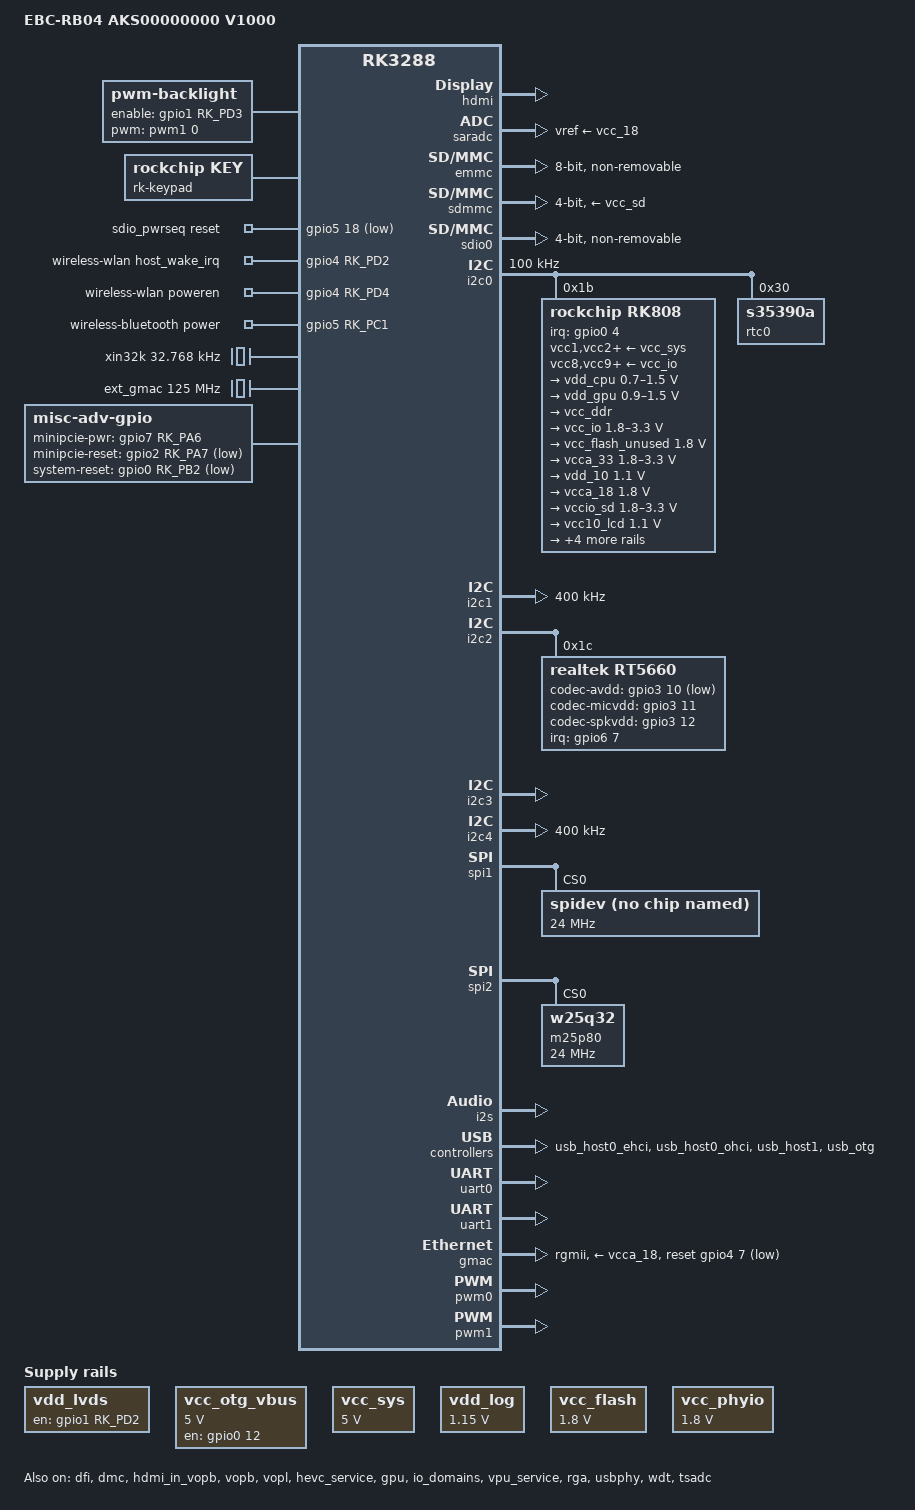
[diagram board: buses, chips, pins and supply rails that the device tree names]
/*
 * This file is dual-licensed: you can use it either under the terms
 * of the GPL or the X11 license, at your option. Note that this dual
 * licensing only applies to this file, and not this project as a
 * whole.
 *
 *  a) This file is free software; you can redistribute it and/or
 *     modify it under the terms of the GNU General Public License as
 *     published by the Free Software Foundation; either version 2 of the
 *     License, or (at your option) any later version.
 *
 *     This file is distributed in the hope that it will be useful,
 *     but WITHOUT ANY WARRANTY; without even the implied warranty of
 *     MERCHANTABILITY or FITNESS FOR A PARTICULAR PURPOSE.  See the
 *     GNU General Public License for more details.
 *
 * Or, alternatively,
 *
 *  b) Permission is hereby granted, free of charge, to any person
 *     obtaining a copy of this software and associated documentation
 *     files (the "Software"), to deal in the Software without
 *     restriction, including without limitation the rights to use,
 *     copy, modify, merge, publish, distribute, sublicense, and/or
 *     sell copies of the Software, and to permit persons to whom the
 *     Software is furnished to do so, subject to the following
 *     conditions:
 *
 *     The above copyright notice and this permission notice shall be
 *     included in all copies or substantial portions of the Software.
 *
 *     THE SOFTWARE IS PROVIDED "AS IS", WITHOUT WARRANTY OF ANY KIND,
 *     EXPRESS OR IMPLIED, INCLUDING BUT NOT LIMITED TO THE WARRANTIES
 *     OF MERCHANTABILITY, FITNESS FOR A PARTICULAR PURPOSE AND
 *     NONINFRINGEMENT. IN NO EVENT SHALL THE AUTHORS OR COPYRIGHT
 *     HOLDERS BE LIABLE FOR ANY CLAIM, DAMAGES OR OTHER LIABILITY,
 *     WHETHER IN AN ACTION OF CONTRACT, TORT OR OTHERWISE, ARISING
 *     FROM, OUT OF OR IN CONNECTION WITH THE SOFTWARE OR THE USE OR
 *     OTHER DEALINGS IN THE SOFTWARE.
 */

/dts-v1/;

#include <dt-bindings/pwm/pwm.h>
#include <dt-bindings/input/input.h>
#include <dt-bindings/display/rk_fb.h>
#include <dt-bindings/display/media-bus-format.h>

#include "rk3288.dtsi"
#include "rk3288-linux.dtsi"

// lvds panel
#include <dt-bindings/display/screen-timing/lcd-ph102600t013.dtsi>

/ {
	compatible = "rockchip,rk3288-ebcrb04-a1", "rockchip,rk3288";
	model = "EBC-RB04 AKS00000000 V1000";

	aliases {
		hdmi = &hdmi;
		lvds = &lvds;
		lvds_in_vopl = &lvds_in_vopl;
		lvds_in_vopb = &lvds_in_vopb;
	};

	chosen {
		bootargs = "earlyprintk console=ttyFIQ0 rw root=PARTUUID=614e0000-0000 rootfstype=ext4 rootwait";
	};

	cpuinfo {
		compatible = "rockchip,cpuinfo";
		nvmem-cells = <&efuse_id>;
		nvmem-cell-names = "id";
	};

	fiq-debugger {
		status = "okay";
	};
	
	backlight: backlight {
		compatible = "pwm-backlight";
		brightness-levels = <
			  0   1   2   3   4   5   6   7
			  8   9  10  11  12  13  14  15
			 16  17  18  19  20  21  22  23
			 24  25  26  27  28  29  30  31
			 32  33  34  35  36  37  38  39
			 40  41  42  43  44  45  46  47
			 48  49  50  51  52  53  54  55
			 56  57  58  59  60  61  62  63
			 64  65  66  67  68  69  70  71
			 72  73  74  75  76  77  78  79
			 80  81  82  83  84  85  86  87
			 88  89  90  91  92  93  94  95
			 96  97  98  99 100 101 102 103
			104 105 106 107 108 109 110 111
			112 113 114 115 116 117 118 119
			120 121 122 123 124 125 126 127
			128 129 130 131 132 133 134 135
			136 137 138 139 140 141 142 143
			144 145 146 147 148 149 150 151
			152 153 154 155 156 157 158 159
			160 161 162 163 164 165 166 167
			168 169 170 171 172 173 174 175
			176 177 178 179 180 181 182 183
			184 185 186 187 188 189 190 191
			192 193 194 195 196 197 198 199
			200 201 202 203 204 205 206 207
			208 209 210 211 212 213 214 215
			216 217 218 219 220 221 222 223
			224 225 226 227 228 229 230 231
			232 233 234 235 236 237 238 239
			240 241 242 243 244 245 246 247
			248 249 250 251 252 253 254 255>;
		default-brightness-level = <200>;
		enable-gpios = <&gpio1 RK_PD3 GPIO_ACTIVE_HIGH>;
		pinctrl-names = "default";
		pinctrl-0 = <&bl_en>;
		rockchip,pwm_id= <1>;
		pwms = <&pwm1 0 25000 0>; 
	};

	rk-keypad {
		compatible = "rockchip,key";
		status = "okay";

		power-key {
			gpios = <&gpio0 RK_PA5 GPIO_ACTIVE_LOW>;
			linux,code = <116>;
			pinctrl-names = "default";
			pinctrl-0 = <&pmic_pwr>;
			label = "power";
			gpio-key,wakeup;
		};
	};

	sdio_pwrseq: sdio-pwrseq {
		compatible = "mmc-pwrseq-simple";
		clocks = <&rk808 1>;
		clock-names = "ext_clock";
		pinctrl-names = "default";
		pinctrl-0 = <&wifi_enable_h>;

		/*
		 * On the module itself this is one of these (depending
		 * on the actual card populated):
		 * - SDIO_RESET_L_WL_REG_ON
		 * - PDN (power down when low)
		 */
		reset-gpios = <&gpio5 18 GPIO_ACTIVE_LOW>;
	};

    wireless-wlan {
		compatible = "wlan-platdata";
		rockchip,grf = <&grf>;
		wifi_chip_type = "ap6212";
		sdio_vref = <1800>;
		keep_wifi_power_on = <1>;
		pinctrl-names = "default";
		pinctrl-0 = <&wifi_pwr_h>;
		//pinctrl-1 = <&wifi_enable_h>;
		WIFI,host_wake_irq = <&gpio4 RK_PD2 GPIO_ACTIVE_HIGH>; // WIFI_WAKE_HOST
		WIFI,poweren_gpio = <&gpio4 RK_PD4 GPIO_ACTIVE_HIGH>;
		//WIFI,reset_gpio = <&gpio5 RK_PC2 GPIO_ACTIVE_HIGH>;
		status = "okay";
    };

	wireless-bluetooth {
        compatible = "bluetooth-platdata";
        pinctrl-names = "default", "rts_gpio";
        pinctrl-0 = <&bt_pwr_h>;
        BT,power_gpio = <&gpio5 RK_PC1 GPIO_ACTIVE_HIGH>;
        //BT,reset_gpio    = <&gpio4 29 GPIO_ACTIVE_HIGH>;
        //BT,wake_gpio     = <&gpio4 26 GPIO_ACTIVE_HIGH>;
        //BT,wake_host_irq = <&gpio4 31 GPIO_ACTIVE_HIGH>;
        status = "okay";
	};
	
	vdd_lvds: vdd-lvds-regulator {
		compatible = "regulator-fixed";
		enable-active-high;
		gpio = <&gpio1 RK_PD2 GPIO_ACTIVE_HIGH>;
		pinctrl-names = "default";
		pinctrl-0 = <&vdd_lvds_pwr>;
		regulator-name = "vdd_lvds";
	};

	vcc_otg_vbus: otg-vbus-regulator {
		compatible = "regulator-fixed";
		gpio = <&gpio0 12 GPIO_ACTIVE_HIGH>;
		pinctrl-names = "default";
		pinctrl-0 = <&otg_vbus_drv>;
		regulator-name = "vcc_otg_vbus";
		regulator-min-microvolt = <5000000>;
		regulator-max-microvolt = <5000000>;
		enable-active-high;
	};

#if 0
	rockchip-rt5660 {
		compatible = "rockchip,rockchip-audio-rt5660";
		rockchip,model = "rockchip_rt5660";
        rockchip,i2s-controller = <&i2s>;
        rockchip,audio-codec = <&rt5660>;
	};
#endif

	hdmi_analog_sound: hdmi-analog-sound {
		status = "okay";
		compatible = "rockchip,rk3288-hdmi-analog",
				"rockchip,rk3368-hdmi-analog";
		rockchip,model = "rockchip,rt5660-codec";
		rockchip,cpu = <&i2s>;
		rockchip,codec = <&rt5660>, <&hdmi>;
		rockchip,widgets =
			"Microphone", "Microphone Jack",
			"Headphone", "Headphone Jack";
		rockchip,routing =
			"MIC1", "Microphone Jack",
			"MIC2", "Microphone Jack",
			"Microphone Jack", "micbias1",
			"Headphone Jack", "HPOL",
			"Headphone Jack", "HPOR";
	};

	lvds_panel
	{
		compatible = "simple-panel";
		power-supply = <&vdd_lvds>;
		backlight = <&backlight>;
		panel_type = <SCREEN_LVDS>;
		
		bpc = <8>;
		bus-format = <MEDIA_BUS_FMT_RGB888_1X24>;
		prepare-delay-ms = <120>;
		enable-delay-ms = <120>;
		unprepare-delay-ms = <120>;
		disable-delay-ms = <120>;

		rockchip,data-mapping = "vesa";
		rockchip,data-width = <24>;
		rockchip,output = "lvds";
	
		status = "disabled";
		display-timings = <&disp_timings>;
		
		ports {
			panel_in_lvds: endpoint {
				remote-endpoint = <&lvds_out_panel>;
			};
		};
	};

	xin32k: xin32k {
		compatible = "fixed-clock";
		clock-frequency = <32768>;
		clock-output-names = "xin32k";
		#clock-cells = <0>;
	};
	
	ext_gmac: external-gmac-clock {
		compatible = "fixed-clock";
		clock-frequency = <125000000>;
		clock-output-names = "ext_gmac";
		#clock-cells = <0>;
	};

	vcc_sys: vsys-regulator {
		compatible = "regulator-fixed";
		regulator-name = "vcc_sys";
		regulator-min-microvolt = <5000000>;
		regulator-max-microvolt = <5000000>;
		regulator-always-on;
		regulator-boot-on;
	};

	vdd_log: vdd-logic {
		compatible = "regulator-fixed";
		regulator-name = "vcc_log";
		regulator-min-microvolt = <1150000>;
		regulator-max-microvolt = <1150000>;
		regulator-always-on;
		regulator-boot-on;
	};

	vcc_flash: vdd-logic-regulator {
		compatible = "regulator-fixed";
		regulator-name = "vcc_flash";
		regulator-min-microvolt = <1800000>;
		regulator-max-microvolt = <1800000>;
		regulator-always-on;
		regulator-boot-on;
	};

	vcc_phyio: vcc-phy-regulator {
		compatible = "regulator-fixed";
		regulator-name = "vcc_phyio";
		regulator-min-microvolt = <1800000>;
		regulator-max-microvolt = <1800000>;
		regulator-always-on;
		regulator-boot-on;
	};

#if 0
	vcc_phy: vcc-phy-regulator {
		compatible = "regulator-fixed";
		enable-active-high;
		gpio = <&gpio4 2 GPIO_ACTIVE_HIGH>;
		pinctrl-names = "default";
		pinctrl-0 = <&eth_phy_pwr>;
		regulator-name = "vcc_phy";
		regulator-min-microvolt = <1800000>;
		regulator-max-microvolt = <1800000>;
		regulator-always-on;
		regulator-boot-on;
	};
#endif

	misc-adv-gpio {
		compatible = "misc-adv-gpio";
		minipcie-pwr-gpio = <&gpio7 RK_PA6 GPIO_ACTIVE_HIGH>;
		timing-interval = <10>;
		minipcie-reset-gpio = <&gpio2 RK_PA7 GPIO_ACTIVE_LOW>;
		system-reset-gpio = <&gpio0 RK_PB2 GPIO_ACTIVE_LOW>;
		status = "okay";
		pinctrl-names = "default";
		pinctrl-0 = <&pcie_pwren &pcie_reset>;
	};
};

&cpu0 {
	cpu0-supply = <&vdd_cpu>;
};

&dfi {
	status = "okay";
};

&dmc {
	center-supply = <&vdd_log>;
	status = "okay";
};


&disp_timings {
	native-mode = <&lvds_ph102600t013>;
};

&lvds{
	status = "disabled";

	ports {
		lvds_out: port@1 {
			reg = <1>;
			#address-cells = <1>;
			#size-cells = <0>;

			lvds_out_panel: endpoint@0 {
				reg = <0>;
				remote-endpoint = <&panel_in_lvds>;
			};
		};
	};
};

&lvds_in_vopb {
    status = "disabled";
};

&lvds_in_vopl {
    status = "disabled";
};

&edp {
    status = "disabled";
};

&edp_phy {
    status = "disabled";
};

&edp_in_vopb {
    status = "disabled";
};

&edp_in_vopl {
    status = "disabled";
};

&hdmi_in_vopb {
    status = "okay";
};

&hdmi_in_vopl {
    status = "disabled";
};

&hdmi {
	#address-cells = <1>;
	#size-cells = <0>;
	#sound-dai-cells = <0>;
	status = "okay";
	rockchip,phy-table = 
	             <74250000  0x8009 0x0004 0x0272>,
	             <165000000 0x802b 0x0004 0x0209>,
	             <297000000 0x803d 0x0005 0x0108>,
	             <594000000 0x8039 0x0000 0x019d>;
};

&vopb {
	status = "okay";
};

&vopb_mmu {
	status = "okay";
};

&vopl {
	status = "okay";
};

&vopl_mmu {
	status = "okay";
};
	
&saradc {
	vref-supply = <&vcc_18>;
	status = "okay";
};

&hevc_service {
	status = "okay";
};

&emmc {
	bus-width = <8>;
	cap-mmc-highspeed;
	disable-wp;
	non-removable;
	num-slots = <1>;
	pinctrl-names = "default";
	pinctrl-0 = <&emmc_clk &emmc_cmd &emmc_pwr &emmc_bus8>;
	max-frequency = <100000000>;
	mmc-hs200-1_8v;
	mmc-ddr-1_8v;
	status = "okay";
};

&sdmmc {
	supports-sd;
	bus-width = <4>;
	cap-mmc-highspeed;
	//sd-uhs-sdr12;
	//sd-uhs-sdr25;
	//sd-uhs-sdr50;
	//sd-uhs-sdr104;
	cap-sd-highspeed;
	card-detect-delay = <200>;
	disable-wp;			/* wp not hooked up */
	num-slots = <1>;
	pinctrl-names = "default";
	pinctrl-0 = <&sdmmc_clk &sdmmc_cmd &sdmmc_cd &sdmmc_bus4>;
	status = "okay";
	vmmc-supply = <&vcc_sd>;
	vqmmc-supply = <&vccio_sd>;
};

&sdio0 {
	status = "okay";
	max-frequency = <150000000>;
	clock-frequency = <150000000>;
	clock-freq-min-max = <200000 150000000>;

	bus-width = <4>;
	cap-sd-highspeed;
	cap-sdio-irq;
	disable-wp;
	keep-power-in-suspend;
	mmc-pwrseq = <&sdio_pwrseq>;
	non-removable;
	num-slots = <1>;
	pinctrl-names = "default";
	pinctrl-0 = <&sdio0_bus4 &sdio0_cmd &sdio0_clk &sdio0_int>;
	//sd-uhs-sdr104;
	supports-sdio;
};

&gpu {
	status = "okay";
	mali-supply = <&vdd_gpu>;
};

&io_domains {
	status = "okay";
	audio-supply = <&vcca_18>;
	bb-supply = <&vcc_18>;
	dvp-supply = <&vcc_io>;
	flash0-supply = <&vcc_flash>;
	flash1-supply = <&vcc_phyio>;
	gpio30-supply = <&vcc_io>;
	gpio1830 = <&vcc_io>;
	lcdc-supply = <&vcca_33>;
	sdcard-supply = <&vccio_sd>;
	wifi-supply = <&vcc_18>;
};

&i2c0 {
	status = "okay";
	clock-frequency = <100000>;

	rk808: pmic@1b {
		compatible = "rockchip,rk808";
		reg = <0x1b>;
		interrupt-parent = <&gpio0>;
		interrupts = <4 IRQ_TYPE_LEVEL_LOW>;
		pinctrl-names = "default";
		pinctrl-0 = <&pmic_int &global_pwroff>;
		rockchip,system-power-controller;
		wakeup-source;
		#clock-cells = <1>;
		clock-output-names = "rk808-clkout1", "rk808-clkout2";

		vcc1-supply = <&vcc_sys>;
		vcc2-supply = <&vcc_sys>;
		vcc3-supply = <&vcc_sys>;
		vcc4-supply = <&vcc_sys>;
		vcc6-supply = <&vcc_sys>;
		vcc7-supply = <&vcc_sys>;
		vcc8-supply = <&vcc_io>;
		vcc9-supply = <&vcc_io>;
		vcc10-supply = <&vcc_io>;
		vcc11-supply = <&vcc_io>;
		vcc12-supply = <&vcc_io>;
		vddio-supply = <&vcc_io>;

		regulators {
			vdd_cpu: DCDC_REG1 {
				regulator-always-on;
				regulator-boot-on;
				regulator-min-microvolt = <700000>;
				regulator-max-microvolt = <1500000>;
				regulator-name = "vdd_arm";
				regulator-state-mem {
					regulator-off-in-suspend;
				};
			};

			vdd_gpu: DCDC_REG2 {
				regulator-always-on;
				regulator-boot-on;
				regulator-min-microvolt = <900000>;
				regulator-max-microvolt = <1500000>;
				regulator-name = "vdd_gpu";
				regulator-ramp-delay = <6000>;
				regulator-state-mem {
					regulator-off-in-suspend;
				};
			};

			vcc_ddr: DCDC_REG3 {
				regulator-always-on;
				regulator-boot-on;
				regulator-name = "vcc_ddr";
				regulator-state-mem {
					regulator-on-in-suspend;
				};
			};

			vcc_io: DCDC_REG4 {
				regulator-always-on;
				regulator-boot-on;
				regulator-min-microvolt = <1800000>;
				regulator-max-microvolt = <3300000>;
				regulator-name = "vcc_io";
				regulator-state-mem {
					regulator-on-in-suspend;
					regulator-suspend-microvolt = <3300000>;
				};
			};

			vcc_flash_unused: LDO_REG1 {
				//regulator-always-on;
				//regulator-boot-on;
				regulator-min-microvolt = <1800000>;
				regulator-max-microvolt = <1800000>;
				regulator-name = "vcc_flash_unused";
				regulator-state-mem {
					regulator-off-in-suspend;
				};
			};

			vcca_33: LDO_REG2 {
				regulator-always-on;
				regulator-boot-on;
				regulator-min-microvolt = <1800000>;
				regulator-init-microvolt = <3300000>;
				regulator-max-microvolt = <3300000>;
				regulator-name = "vcca_33";
				regulator-state-mem {
					regulator-off-in-suspend;
				};
			};

			vdd_10: LDO_REG3 {
				regulator-always-on;
				regulator-boot-on;
				regulator-min-microvolt = <1100000>;
				regulator-init-microvolt = <1100000>;
				regulator-max-microvolt = <1100000>;
				regulator-name = "vdd_10";
				regulator-state-mem {
					regulator-on-in-suspend;
					regulator-suspend-microvolt = <1100000>;
				};
			};

			vcca_18: LDO_REG4 {
				regulator-always-on;
				regulator-boot-on;
				regulator-min-microvolt = <1800000>;
				regulator-init-microvolt = <1800000>;
				regulator-max-microvolt = <1800000>;
				regulator-name = "vcca_18";
				regulator-state-mem {
					regulator-on-in-suspend;
					regulator-suspend-microvolt = <1800000>;
				};
			};

			vccio_sd: LDO_REG5 {
				regulator-always-on;
				regulator-boot-on;
				regulator-min-microvolt = <1800000>;
				regulator-init-microvolt = <3300000>;
				regulator-max-microvolt = <3300000>;
				regulator-name = "vccio_sd";
				regulator-state-mem {
					regulator-on-in-suspend;
					regulator-suspend-microvolt = <3300000>;
				};
			};

			vcc10_lcd: LDO_REG6 {
				regulator-always-on;
				regulator-boot-on;
				regulator-min-microvolt = <1100000>;
				regulator-init-microvolt = <1100000>;
				regulator-max-microvolt = <1100000>;
				regulator-name = "vcc10_lcd";
				regulator-state-mem {
					regulator-off-in-suspend;
				};
			};

			vcc_18: LDO_REG7 {
				regulator-always-on;
				regulator-boot-on;
				regulator-min-microvolt = <1800000>;
				regulator-init-microvolt = <1800000>;
				regulator-max-microvolt = <1800000>;
				regulator-name = "vcc_18";
				regulator-state-mem {
					regulator-on-in-suspend;
					regulator-suspend-microvolt = <1800000>;
				};
			};

			vcc18_lcd: LDO_REG8 {
				regulator-always-on;
				regulator-boot-on;
				regulator-min-microvolt = <1800000>;
				regulator-init-microvolt = <1800000>;
				regulator-max-microvolt = <3300000>;
				regulator-name = "vcc18_lcd";
				regulator-state-mem {
					regulator-off-in-suspend;
				};
			};

			vcc_sd: SWITCH_REG1 {
				regulator-always-on;
				regulator-boot-on;
				regulator-min-microvolt = <3300000>;
				regulator-init-microvolt = <3300000>;
				regulator-max-microvolt = <3300000>;
				regulator-name = "vcc_sd";
				regulator-state-mem {
					regulator-on-in-suspend;
				};
			};

			phy_vddio_unused: SWITCH_REG2 {
				//regulator-always-on;
				//regulator-boot-on;
				regulator-min-microvolt = <3300000>;
				regulator-max-microvolt = <3300000>;
				regulator-name = "phy_vddio_unused";
				regulator-state-mem {
					regulator-off-in-suspend;
				};
			};
		};
	};

	rtc0: rtc@30  {
		compatible = "s35390a"; 
		reg = <0x30>;
	};
};

&i2c1 {
	status = "okay";
	clock-frequency = <400000>;
};

&i2c2 {
	status = "okay";

	rt5660: rt5660@1c {
		#sound-dai-cells = <0>;
		compatible = "realtek,rt5660";
		rockchip,cru = <&cru>;
		rockchip,grf = <&grf>;
		reg = <0x1c>;
		codec-avdd-gpio = <&gpio3 10 GPIO_ACTIVE_LOW>;
		codec-avdd-delay = <100>;
		codec-micvdd-gpio = <&gpio3 11 GPIO_ACTIVE_HIGH>;
		codec-spkvdd-gpio = <&gpio3 12 GPIO_ACTIVE_HIGH>;

		clocks = <&cru SCLK_I2S0_OUT>;
		clock-names = "mclk";
		interrupt-parent = <&gpio6>;
		interrupts = <7 IRQ_TYPE_EDGE_FALLING>;

		pinctrl-names = "default";
		pinctrl-0 = <&i2s0_mclk &codec_avdd &codec_micvdd &codec_spkvdd>;
	};
};

&i2c3 {
	status = "okay";
};

&i2c4 {
	status = "okay";
	clock-frequency = <400000>;
};

&i2c5 {
	status = "disabled";
};

&spi0 {
	status = "disabled";
	max-freq = <48000000>;	
};

&spi1 {
	status = "okay";
	max-freq = <48000000>;
	
	spidev@0 {
		compatible = "rockchip,spidev";
		spi-max-frequency = <24000000>;
		reg = <0>;
		spi-cpha;
		spi-cpol;
	};
};

&spi2 {
	status = "okay";
	pinctrl-0 = <&spi2_clk &spi2_tx &spi2_rx &spi2_cs0 &spi2_cs1>;
	num-cs = <2>;
	max-freq = <48000000>;
	m25p80@0 {
		compatible = "w25q32";
		spi-max-frequency = <24000000>;
		reg = <0>;	/* CS address. */
		//spi-cpol;
		//spi-cpha;
	};
};

&i2s {
	status = "okay";
};

&vpu_service {
	status = "okay";
};

&cif_isp0 {
	status = "disabled";
};

&isp_mmu {
	status = "disabled";
};

&rga {
	status = "okay";
};

&usbphy {
	status = "okay";
};

&usb_host0_ehci {
	rockchip-relinquish-port;
	status = "okay";
};

&usb_host0_ohci {
	status = "okay";
};

&usb_host1 {
	status = "okay";
};

&usb_otg {
	status = "okay";
};

&usbphy0 {
	vbus-supply = <&vcc_otg_vbus>;
};

&uart0 {
	status = "okay";
	pinctrl-0 = <&uart0_xfer &uart0_cts &uart0_rts>;
	dmas = <&dmac_peri 1>, <&dmac_peri 2>;
	dma-names = "tx", "rx";
};

&uart1 {
	status = "okay";
	pinctrl-names = "default","rts_gpio";
	pinctrl-0 = <&uart1_xfer &uart1_cts &uart1_rts>;
	pinctrl-1 = <&uart1_xfer &uart1_rts_gpio>;
	dmas = <&dmac_peri 3>, <&dmac_peri 4>;
	dma-names = "tx", "rx";
};

&uart2 {
	status = "disabled";
	//dmas = <&dmac_bus_s 4>, <&dmac_bus_s 5>;
	//dma-names = "tx", "rx";
};

&uart3 {
	status = "disabled";
};

&uart4 {
	status = "disabled";
};

&gmac {
	status = "okay";
	phy-supply = <&vcca_18>;
	phy-mode = "rgmii";
	clock_in_out = "input";
	snps,reset-gpio = <&gpio4 7 0>;
	snps,reset-active-low;
	snps,reset-delays-us = <0 1000 200000>;
	assigned-clocks = <&cru SCLK_MAC>;
	assigned-clock-parents = <&ext_gmac>;
	pinctrl-names = "default";
	pinctrl-0 = <&rgmii_pins &eth_phy_rst>;
	tx_delay = <0x0>;
	rx_delay = <0x0>;
	max-speed = <1000>;
	phy_reg_config = <//address mask value
					0x0014 0x200 0x200
					0x0018 0xfff 0x65b
					0x001e 0x200 0x200
					0x0032 0x3 0x3
					0x0086 0xff 0x80
					0x0170 0x1f00 0x0000
				>;
};

&wdt {
	status = "okay";
};

&cpu0_opp_table {
	rockchip,pvtm-number = <7>;
	/delete-node/ opp-126000000;
	/delete-node/ opp-216000000;
	/delete-node/ opp-696000000;
	/delete-node/ opp-1512000000;
};

&target {
	temperature = <105000>;
};

&gpu_opp_table {
	/delete-node/ opp-100000000;
};

&tsadc {
	rockchip,grf = <&grf>;
	rockchip,hw-tshut-mode = <1>; /* tshut mode 0:CRU 1:GPIO */
	rockchip,hw-tshut-polarity = <0>; /* tshut polarity 0:LOW 1:HIGH */
	status = "okay";
};

&pwm0 {
	status = "okay";
};

&pwm1 {
	status = "okay";
};

&rockchip_suspend {
	status = "okay";
};

&pinctrl {
	pcfg_pull_up_12ma: pcfg-pull-up-12ma {
		bias-pull-up;
		drive-strength = <12>;
	};

	pcfg_pull_none_drv_8ma: pcfg-pull-none-drv-8ma {
		bias-disable;
		drive-strength = <8>;
	};

	pcfg_pull_up_drv_8ma: pcfg-pull-up-drv-8ma {
		bias-pull-up;
		drive-strength = <8>;
	};

	pcfg_pull_up_drv_2ma: pcfg-pull-up-drv-2ma {
		bias-pull-up;
		drive-strength = <2>;
	};
	
	pcfg_pull_down_drv_2ma: pcfg-pull-down-drv-2ma {
		bias-pull-down;
		drive-strength = <2>;
	};

	codec {
		codec_avdd: codec-avdd {
			rockchip,pins = <3 10 RK_FUNC_GPIO &pcfg_pull_up>;
		};
		codec_micvdd: codec-micvdd {
			rockchip,pins = <3 11 RK_FUNC_GPIO &pcfg_pull_down>;
		};
		codec_spkvdd: codec-spkvdd {
			rockchip,pins = <3 12 RK_FUNC_GPIO &pcfg_pull_down>;
		};
	};

	pmic {
		pmic_int: pmic-int {
			rockchip,pins = <0 4 RK_FUNC_GPIO &pcfg_pull_up>;
		};
		
		pmic_pwr: pmic-pwr {
			rockchip,pins = <0 5 RK_FUNC_GPIO &pcfg_pull_none>;
		};

		pmic_rst: pmic-rst {
			rockchip,pins = <0 10 RK_FUNC_GPIO &pcfg_pull_none>;
		};
	};

	sdmmc {
		/*
		 * Default drive strength isn't enough to achieve even
		 * high-speed mode on EVB board so bump up to 8ma.
		 */
		sdmmc_bus4: sdmmc-bus4 {
			rockchip,pins = <6 16 RK_FUNC_1 &pcfg_pull_up_drv_8ma>,
					<6 17 RK_FUNC_1 &pcfg_pull_up_drv_8ma>,
					<6 18 RK_FUNC_1 &pcfg_pull_up_drv_8ma>,
					<6 19 RK_FUNC_1 &pcfg_pull_up_drv_8ma>;
		};

		sdmmc_clk: sdmmc-clk {
			rockchip,pins = <6 20 RK_FUNC_1 &pcfg_pull_none_drv_8ma>;
		};

		sdmmc_cmd: sdmmc-cmd {
			rockchip,pins = <6 21 RK_FUNC_1 &pcfg_pull_up_drv_8ma>;
		};
	};

	usb {
		host_vbus_drv: host-vbus-drv {
			rockchip,pins = <0 14 RK_FUNC_GPIO &pcfg_pull_none>;
		};

		otg_vbus_drv: otg-vbus-drv {
			rockchip,pins = <0 12 RK_FUNC_GPIO &pcfg_pull_none>;
		};
	};

	eth-phy {
		eth_phy_pwr: eth-phy-pwr {
			rockchip,pins = <4 2 RK_FUNC_GPIO &pcfg_pull_none>;
		};

		eth_phy_rst: eth-phy-rst {
			rockchip,pins = <4 7 RK_FUNC_GPIO &pcfg_pull_none>;
		};
	};

	wireless-bluetooth {
		bt_pwr_h: bt-pwr-h {
			rockchip,pins =<5 17 RK_FUNC_GPIO &pcfg_pull_none>;
		};
	};

	lvds {
		vdd_lvds_pwr: vdd-lvds-pwr {
			rockchip,pins = <1 26 RK_FUNC_GPIO &pcfg_pull_none>;
		};
		bl_en: bl-en {
			rockchip,pins = <1 27 RK_FUNC_GPIO &pcfg_pull_none>;
		};
	};
	
    sdio-pwrseq {
		wifi_enable_h: wifi-enable-h {
			rockchip,pins =<5 18 RK_FUNC_GPIO &pcfg_pull_none>; // WIFI_REG_ON
		};
		wifi_pwr_h: wifi-pwr-h {
			rockchip,pins =<4 28 RK_FUNC_GPIO &pcfg_pull_none>; // WIFI_REG_ON
		};
    };

    minipcie-pwrseq {
		pcie_pwren: pcie-pwren {
			rockchip,pins =<7 6 RK_FUNC_GPIO &pcfg_pull_none>;
		};

		pcie_reset: pcie-reset {
			rockchip,pins =<2 7 RK_FUNC_GPIO &pcfg_pull_none>;
		};
    };

	uart1_pin {
    	uart1_rts_gpio: uart1-rts-gpio {
			rockchip,pins =<3 19 RK_FUNC_GPIO &pcfg_pull_none>;
		};
    };

    spi2 {
		spi2_clk: spi2-clk {
			rockchip,pins = <8 6 RK_FUNC_1 &pcfg_pull_down_drv_2ma>;
		};
		spi2_cs0: spi2-cs0 {
			rockchip,pins = <8 7 RK_FUNC_1 &pcfg_pull_up_drv_2ma>;
		};
		spi2_rx: spi2-rx {
			rockchip,pins = <8 8 RK_FUNC_1 &pcfg_pull_down_drv_2ma>;
		};
		spi2_tx: spi2-tx {
			rockchip,pins = <8 9 RK_FUNC_1 &pcfg_pull_down_drv_2ma>;
		};
	};

	gmac {
		rgmii_pins: rgmii-pins {
			rockchip,pins = <3 30 3 &pcfg_pull_none_12ma>,
					<3 31 3 &pcfg_pull_none_12ma>,
					<3 26 3 &pcfg_pull_none_12ma>,
					<3 27 3 &pcfg_pull_none_12ma>,
					<3 28 3 &pcfg_pull_none_12ma>,
					<3 29 3 &pcfg_pull_none_12ma>,
					<3 24 3 &pcfg_pull_none_12ma>,
					<3 25 3 &pcfg_pull_none_12ma>,
					<4 0 3 &pcfg_pull_none_12ma>,
					<4 5 3 &pcfg_pull_none_12ma>,
					<4 6 3 &pcfg_pull_none_12ma>,
					<4 8 3 &pcfg_pull_none_12ma>,
					<4 9 3 &pcfg_pull_none_12ma>,
					<4 4 3 &pcfg_pull_none_12ma>,
					<4 1 3 &pcfg_pull_none_12ma>,
					<4 3 3 &pcfg_pull_none_12ma>;
		};
	};

	emmc {
		emmc_clk: emmc-clk {
			rockchip,pins = <3 18 RK_FUNC_2 &pcfg_pull_none_12ma>;
		};
	};

	sdio0 {
		sdio0_bus1: sdio0-bus1 {
			rockchip,pins = <4 20 RK_FUNC_1 &pcfg_pull_up_12ma>;
		};

		sdio0_bus4: sdio0-bus4 {
			rockchip,pins = <4 20 RK_FUNC_1 &pcfg_pull_up_12ma>,
					<4 21 RK_FUNC_1 &pcfg_pull_up_12ma>,
					<4 22 RK_FUNC_1 &pcfg_pull_up_12ma>,
					<4 23 RK_FUNC_1 &pcfg_pull_up_12ma>;
		};

		sdio0_cmd: sdio0-cmd {
			rockchip,pins = <4 24 RK_FUNC_1 &pcfg_pull_up_12ma>;
		};

		sdio0_clk: sdio0-clk {
			rockchip,pins = <4 25 RK_FUNC_1 &pcfg_pull_none_12ma>;
		};

		sdio0_int: sdio0-int {
			rockchip,pins = <4 30 RK_FUNC_1 &pcfg_pull_up_12ma>;
		};
	};
};
